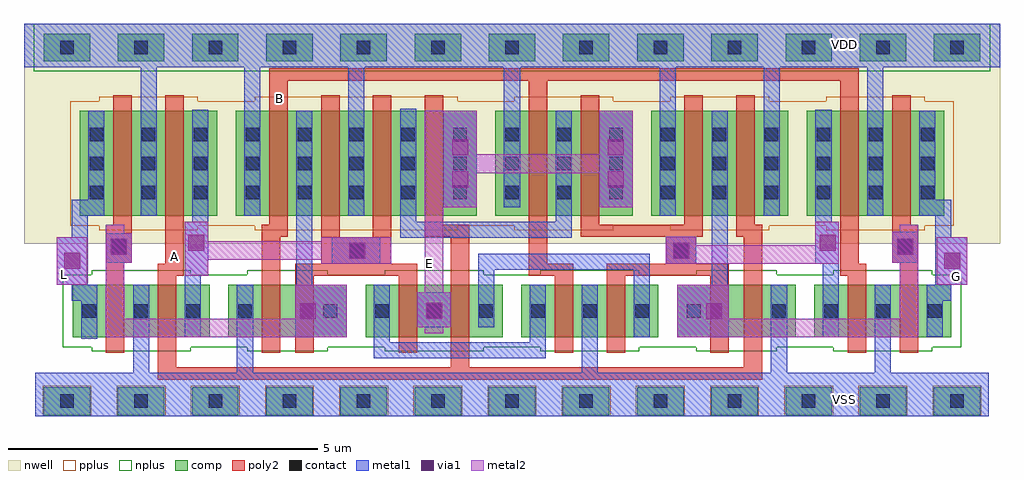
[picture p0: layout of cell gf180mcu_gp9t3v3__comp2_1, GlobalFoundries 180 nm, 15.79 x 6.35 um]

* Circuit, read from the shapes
.subckt gf180mcu_gp9t3v3__comp2_1 A B E G L VDD VSS
XM1 VSS n1 L VSS nfet_03v3 w=0.85u l=0.3u
XM2 n2 A VSS VSS nfet_03v3 w=0.85u l=0.3u
XM3 n3 B VSS VSS nfet_03v3 w=0.85u l=0.3u
XM4 n1 n2 n3 VSS nfet_03v3 w=0.85u l=0.3u
XM5 E n2 n4 VSS nfet_03v3 w=0.85u l=0.3u
XM6 n5 A E VSS nfet_03v3 w=0.85u l=0.3u
XM7 VSS B n4 VSS nfet_03v3 w=0.85u l=0.3u
XM8 n5 n6 VSS VSS nfet_03v3 w=0.85u l=0.3u
XM9 n7 n6 n8 VSS nfet_03v3 w=0.85u l=0.3u
XM10 VSS A n7 VSS nfet_03v3 w=0.85u l=0.3u
XM11 VSS B n6 VSS nfet_03v3 w=0.85u l=0.3u
XM12 G n8 VSS VSS nfet_03v3 w=0.85u l=0.3u
XM13 VDD n1 L VDD pfet_03v3 w=1.7u l=0.3u
XM14 n2 A VDD VDD pfet_03v3 w=1.7u l=0.3u
XM15 n1 B VDD VDD pfet_03v3 w=1.7u l=0.3u
XM16 VDD n2 n1 VDD pfet_03v3 w=1.7u l=0.3u
XM17 n9 n2 VDD VDD pfet_03v3 w=1.7u l=0.3u
XM18 E A n9 VDD pfet_03v3 w=1.7u l=0.3u
XM19 n9 B VDD VDD pfet_03v3 w=1.7u l=0.3u
XM20 E n6 n9 VDD pfet_03v3 w=1.7u l=0.3u
XM21 n8 n6 VDD VDD pfet_03v3 w=1.7u l=0.3u
XM22 VDD A n8 VDD pfet_03v3 w=1.7u l=0.3u
XM23 VDD B n6 VDD pfet_03v3 w=1.7u l=0.3u
XM24 G n8 VDD VDD pfet_03v3 w=1.7u l=0.3u
.ends

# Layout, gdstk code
import gdstk
lib = gdstk.Library(unit=1e-6, precision=1e-09)
def R(c, l, rs):  # rectangles x0, y0, x1, y1
    for r in rs: c.add(gdstk.rectangle(r[:2], r[2:], *l))
def A(c, l, x, y, w, h, nx, ny, dx, dy):  # array of equal rectangles
    R(c, l, [(x+i*dx, y+j*dy, x+i*dx+w, y+j*dy+h) for i in range(nx) for j in range(ny)])
nwell = (21, 0)
comp = (22, 0)
poly2 = (30, 0)
pplus = (31, 0)
nplus = (32, 0)
contact = (33, 0)
metal1 = (34, 0)
via1 = (35, 0)
metal2 = (36, 0)

gf180mcu_gp9t3v3__comp2_ = lib.new_cell('gf180mcu_gp9t3v3__comp2_1')
R(gf180mcu_gp9t3v3__comp2_, nwell, [(-64.49,67.205,-48.7,70.765)])
R(gf180mcu_gp9t3v3__comp2_, comp, [(-64.17,64.435,-63.42,64.885), (-64.17,64.435,-63.42,64.885), (-64.17,64.435,-63.42,64.885), (-64.17,64.435,-63.42,64.885), (-62.97,64.435,-62.22,64.885), (-62.97,64.435,-62.22,64.885), (-62.97,64.435,-62.22,64.885), (-62.97,64.435,-62.22,64.885), (-61.77,64.435,-61.02,64.885), (-61.77,64.435,-61.02,64.885), (-60.57,64.435,-59.82,64.885), (-60.57,64.435,-59.82,64.885), (-59.37,64.435,-58.62,64.885), (-59.37,64.435,-58.62,64.885), (-58.17,64.435,-57.42,64.885), (-58.17,64.435,-57.42,64.885), (-56.97,64.435,-56.22,64.885), (-56.97,64.435,-56.22,64.885), (-55.77,64.435,-55.02,64.885), (-55.77,64.435,-55.02,64.885), (-54.57,64.435,-53.82,64.885), (-54.57,64.435,-53.82,64.885), (-53.37,64.435,-52.62,64.885), (-53.37,64.435,-52.62,64.885), (-52.17,64.435,-51.42,64.885), (-52.17,64.435,-51.42,64.885), (-50.97,64.435,-50.22,64.885), (-50.97,64.435,-50.22,64.885), (-49.77,64.435,-49.02,64.885), (-49.77,64.435,-49.02,64.885), (-49.77,64.435,-49.02,64.885), (-49.77,64.435,-49.02,64.885), (-63.705,65.695,-61.485,66.545), (-63.705,65.695,-61.485,66.545), (-61.185,65.695,-59.265,66.545), (-61.185,65.695,-59.265,66.545), (-58.965,65.695,-56.745,66.545), (-58.965,65.695,-56.745,66.545), (-56.445,65.695,-54.225,66.545), (-56.445,65.695,-54.225,66.545), (-53.925,65.695,-52.005,66.545), (-53.925,65.695,-52.005,66.545), (-51.705,65.695,-49.485,66.545), (-51.705,65.695,-49.485,66.545), (-63.585,67.655,-61.365,69.355), (-63.585,67.655,-61.365,69.355), (-61.065,67.655,-57.165,69.355), (-61.065,67.655,-57.165,69.355), (-56.865,67.655,-54.645,69.355), (-56.865,67.655,-54.645,69.355), (-54.345,67.655,-52.125,69.355), (-54.345,67.655,-52.125,69.355), (-51.825,67.655,-49.605,69.355), (-51.825,67.655,-49.605,69.355), (-64.17,70.155,-63.42,70.605), (-64.17,70.155,-63.42,70.605), (-62.97,70.155,-62.22,70.605), (-62.97,70.155,-62.22,70.605), (-62.97,70.155,-62.22,70.605), (-62.97,70.155,-62.22,70.605), (-61.77,70.155,-61.02,70.605), (-61.77,70.155,-61.02,70.605), (-60.57,70.155,-59.82,70.605), (-60.57,70.155,-59.82,70.605), (-59.37,70.155,-58.62,70.605), (-59.37,70.155,-58.62,70.605), (-58.17,70.155,-57.42,70.605), (-58.17,70.155,-57.42,70.605), (-56.97,70.155,-56.22,70.605), (-56.97,70.155,-56.22,70.605), (-55.77,70.155,-55.02,70.605), (-55.77,70.155,-55.02,70.605), (-54.57,70.155,-53.82,70.605), (-54.57,70.155,-53.82,70.605), (-53.37,70.155,-52.62,70.605), (-53.37,70.155,-52.62,70.605), (-52.17,70.155,-51.42,70.605), (-52.17,70.155,-51.42,70.605), (-50.97,70.155,-50.22,70.605), (-50.97,70.155,-50.22,70.605), (-49.77,70.155,-49.02,70.605), (-49.77,70.155,-49.02,70.605)])
R(gf180mcu_gp9t3v3__comp2_, poly2, [(-62.325,65.005,-52.545,65.205), (-62.325,65.005,-52.545,65.205), (-62.325,65.205,-62.025,66.685), (-62.325,65.205,-62.025,66.685), (-57.585,65.205,-57.285,67.315), (-57.585,65.205,-57.285,67.315), (-52.845,65.205,-52.545,67.315), (-52.845,65.205,-52.545,67.315), (-63.165,65.445,-62.865,66.895), (-63.165,65.445,-62.865,66.895), (-60.645,65.445,-60.345,67.315), (-60.645,65.445,-60.345,67.315), (-60.105,65.445,-59.805,66.685), (-60.105,65.445,-59.805,66.685), (-58.425,65.445,-58.125,66.685), (-58.425,65.445,-58.125,66.685), (-55.905,65.445,-55.605,66.685), (-55.905,65.445,-55.605,66.685), (-55.065,65.445,-54.765,66.685), (-55.065,65.445,-54.765,66.685), (-53.385,65.445,-53.085,66.685), (-53.385,65.445,-53.085,66.685), (-51.165,65.445,-50.865,66.685), (-51.165,65.445,-50.865,66.685), (-50.325,65.445,-50.025,66.895), (-50.325,65.445,-50.025,66.895), (-62.325,66.685,-61.905,66.885), (-62.325,66.685,-61.905,66.885), (-60.105,66.685,-58.125,66.885), (-60.105,66.685,-58.125,66.885), (-56.325,66.685,-55.605,66.885), (-56.325,66.685,-55.605,66.885), (-55.065,66.685,-53.085,66.885), (-55.065,66.685,-53.085,66.885), (-51.285,66.685,-50.865,66.885), (-51.285,66.685,-50.865,66.885), (-62.205,66.885,-61.905,69.605), (-62.205,66.885,-61.905,69.605), (-59.685,66.885,-58.545,67.31), (-59.685,66.885,-58.545,67.31), (-56.325,66.885,-56.025,69.845), (-56.325,66.885,-56.025,69.845), (-54.11,66.885,-53.615,67.315), (-54.11,66.885,-53.615,67.315), (-51.285,66.885,-50.985,69.845), (-51.285,66.885,-50.985,69.845), (-63.165,66.895,-62.745,67.515), (-63.165,66.895,-62.745,67.515), (-50.445,66.895,-50.025,67.515), (-50.445,66.895,-50.025,67.515), (-59.685,67.31,-59.385,69.605), (-59.685,67.31,-59.385,69.605), (-58.845,67.31,-58.545,69.605), (-58.845,67.31,-58.545,69.605), (-60.645,67.315,-60.225,67.515), (-60.645,67.315,-60.225,67.515), (-58.005,67.315,-57.285,67.515), (-58.005,67.315,-57.285,67.515), (-55.485,67.315,-53.505,67.515), (-55.485,67.315,-53.505,67.515), (-52.965,67.315,-52.545,67.515), (-52.965,67.315,-52.545,67.515), (-63.045,67.515,-62.745,69.605), (-63.045,67.515,-62.745,69.605), (-60.525,67.515,-60.225,69.845), (-60.525,67.515,-60.225,69.845), (-58.005,67.515,-57.705,69.605), (-58.005,67.515,-57.705,69.605), (-55.485,67.515,-55.185,69.605), (-55.485,67.515,-55.185,69.605), (-53.805,67.515,-53.505,69.605), (-53.805,67.515,-53.505,69.605), (-52.965,67.515,-52.665,69.605), (-52.965,67.515,-52.665,69.605), (-50.445,67.515,-50.145,69.605), (-50.445,67.515,-50.145,69.605), (-60.525,69.845,-50.985,70.045), (-60.525,69.845,-50.985,70.045)])
A(gf180mcu_gp9t3v3__comp2_, pplus, -64.19, 64.415, 0.79, 0.49, 13, 1, 1.2, 0)
R(gf180mcu_gp9t3v3__comp2_, pplus, [(-63.275,67.425,-61.675,67.495), (-63.275,67.425,-61.675,67.495), (-60.755,67.425,-57.475,67.495), (-60.755,67.425,-57.475,67.495), (-56.555,67.425,-54.955,67.495), (-56.555,67.425,-54.955,67.495), (-54.035,67.425,-52.435,67.495), (-54.035,67.425,-52.435,67.495), (-51.515,67.425,-49.915,67.495), (-51.515,67.425,-49.915,67.495), (-63.745,67.495,-49.445,69.515), (-63.745,67.495,-49.445,69.515), (-63.275,69.515,-61.675,69.585), (-63.275,69.515,-61.675,69.585), (-60.755,69.515,-57.475,69.585), (-60.755,69.515,-57.475,69.585), (-56.555,69.515,-54.955,69.585), (-56.555,69.515,-54.955,69.585), (-54.035,69.515,-52.435,69.585), (-54.035,69.515,-52.435,69.585), (-51.515,69.515,-49.915,69.585), (-51.515,69.515,-49.915,69.585)])
R(gf180mcu_gp9t3v3__comp2_, nplus, [(-63.395,65.465,-61.795,65.535), (-63.395,65.465,-61.795,65.535), (-60.875,65.465,-59.575,65.535), (-60.875,65.465,-59.575,65.535), (-58.655,65.465,-57.055,65.535), (-58.655,65.465,-57.055,65.535), (-56.135,65.465,-54.535,65.535), (-56.135,65.465,-54.535,65.535), (-53.615,65.465,-52.315,65.535), (-53.615,65.465,-52.315,65.535), (-51.395,65.465,-49.795,65.535), (-51.395,65.465,-49.795,65.535), (-63.865,65.535,-49.325,66.705), (-63.865,65.535,-49.325,66.705), (-63.395,66.705,-61.795,66.775), (-63.395,66.705,-61.795,66.775), (-60.875,66.705,-59.575,66.775), (-60.875,66.705,-59.575,66.775), (-58.655,66.705,-57.055,66.775), (-58.655,66.705,-57.055,66.775), (-56.135,66.705,-54.535,66.775), (-56.135,66.705,-54.535,66.775), (-53.615,66.705,-52.315,66.775), (-53.615,66.705,-52.315,66.775), (-51.395,66.705,-49.795,66.775), (-51.395,66.705,-49.795,66.775), (-64.33,69.995,-48.86,70.765)])
R(gf180mcu_gp9t3v3__comp2_, contact, [(-63.905,64.55,-63.685,64.77), (-63.905,64.55,-63.685,64.77), (-63.905,64.55,-63.685,64.77), (-63.905,64.55,-63.685,64.77), (-62.705,64.55,-62.485,64.77), (-62.705,64.55,-62.485,64.77), (-62.705,64.55,-62.485,64.77), (-62.705,64.55,-62.485,64.77), (-61.505,64.55,-61.285,64.77), (-61.505,64.55,-61.285,64.77), (-60.305,64.55,-60.085,64.77), (-60.305,64.55,-60.085,64.77), (-59.105,64.55,-58.885,64.77), (-59.105,64.55,-58.885,64.77), (-57.905,64.55,-57.685,64.77), (-57.905,64.55,-57.685,64.77), (-56.705,64.55,-56.485,64.77), (-56.705,64.55,-56.485,64.77), (-55.505,64.55,-55.285,64.77), (-55.505,64.55,-55.285,64.77), (-54.305,64.55,-54.085,64.77), (-54.305,64.55,-54.085,64.77), (-53.105,64.55,-52.885,64.77), (-53.105,64.55,-52.885,64.77), (-51.905,64.55,-51.685,64.77), (-51.905,64.55,-51.685,64.77), (-50.705,64.55,-50.485,64.77), (-50.705,64.55,-50.485,64.77), (-49.505,64.55,-49.285,64.77), (-49.505,64.55,-49.285,64.77), (-49.505,64.55,-49.285,64.77), (-49.505,64.55,-49.285,64.77), (-63.545,66.01,-63.325,66.23), (-63.545,66.01,-63.325,66.23), (-62.705,66.01,-62.485,66.23), (-62.705,66.01,-62.485,66.23), (-61.865,66.01,-61.645,66.23), (-61.865,66.01,-61.645,66.23), (-61.025,66.01,-60.805,66.23), (-61.025,66.01,-60.805,66.23), (-59.645,66.01,-59.425,66.23), (-59.645,66.01,-59.425,66.23), (-58.805,66.01,-58.585,66.23), (-58.805,66.01,-58.585,66.23), (-57.965,66.01,-57.745,66.23), (-57.965,66.01,-57.745,66.23), (-57.125,66.01,-56.905,66.23), (-57.125,66.01,-56.905,66.23), (-56.285,66.01,-56.065,66.23), (-56.285,66.01,-56.065,66.23), (-55.445,66.01,-55.225,66.23), (-55.445,66.01,-55.225,66.23), (-54.605,66.01,-54.385,66.23), (-54.605,66.01,-54.385,66.23), (-53.765,66.01,-53.545,66.23), (-53.765,66.01,-53.545,66.23), (-52.385,66.01,-52.165,66.23), (-52.385,66.01,-52.165,66.23), (-51.545,66.01,-51.325,66.23), (-51.545,66.01,-51.325,66.23), (-50.705,66.01,-50.485,66.23), (-50.705,66.01,-50.485,66.23), (-49.865,66.01,-49.645,66.23), (-49.865,66.01,-49.645,66.23), (-59.21,66.98,-58.99,67.2), (-59.21,66.98,-58.99,67.2), (-53.97,66.98,-53.75,67.2), (-53.97,66.98,-53.75,67.2), (-63.065,67.05,-62.845,67.27), (-63.065,67.05,-62.845,67.27), (-50.345,67.05,-50.125,67.27), (-50.345,67.05,-50.125,67.27), (-63.425,67.925,-63.205,68.145), (-63.425,67.925,-63.205,68.145), (-62.585,67.925,-62.365,68.145), (-62.585,67.925,-62.365,68.145), (-61.745,67.925,-61.525,68.145), (-61.745,67.925,-61.525,68.145), (-60.905,67.925,-60.685,68.145), (-60.905,67.925,-60.685,68.145), (-60.065,67.925,-59.845,68.145), (-60.065,67.925,-59.845,68.145), (-59.225,67.925,-59.005,68.145), (-59.225,67.925,-59.005,68.145), (-58.385,67.925,-58.165,68.145), (-58.385,67.925,-58.165,68.145), (-57.545,67.925,-57.325,68.145), (-57.545,67.925,-57.325,68.145), (-56.705,67.925,-56.485,68.145), (-56.705,67.925,-56.485,68.145), (-55.865,67.925,-55.645,68.145), (-55.865,67.925,-55.645,68.145), (-55.025,67.925,-54.805,68.145), (-55.025,67.925,-54.805,68.145), (-54.185,67.925,-53.965,68.145), (-54.185,67.925,-53.965,68.145), (-53.345,67.925,-53.125,68.145), (-53.345,67.925,-53.125,68.145), (-52.505,67.925,-52.285,68.145), (-52.505,67.925,-52.285,68.145), (-51.665,67.925,-51.445,68.145), (-51.665,67.925,-51.445,68.145), (-50.825,67.925,-50.605,68.145), (-50.825,67.925,-50.605,68.145), (-49.985,67.925,-49.765,68.145), (-49.985,67.925,-49.765,68.145), (-63.425,68.395,-63.205,68.615), (-63.425,68.395,-63.205,68.615), (-62.585,68.395,-62.365,68.615), (-62.585,68.395,-62.365,68.615), (-61.745,68.395,-61.525,68.615), (-61.745,68.395,-61.525,68.615), (-60.905,68.395,-60.685,68.615), (-60.905,68.395,-60.685,68.615), (-60.065,68.395,-59.845,68.615), (-60.065,68.395,-59.845,68.615), (-59.225,68.395,-59.005,68.615), (-59.225,68.395,-59.005,68.615), (-58.385,68.395,-58.165,68.615), (-58.385,68.395,-58.165,68.615), (-57.545,68.395,-57.325,68.615), (-57.545,68.395,-57.325,68.615), (-56.705,68.395,-56.485,68.615), (-56.705,68.395,-56.485,68.615), (-55.865,68.395,-55.645,68.615), (-55.865,68.395,-55.645,68.615), (-55.025,68.395,-54.805,68.615), (-55.025,68.395,-54.805,68.615), (-54.185,68.395,-53.965,68.615), (-54.185,68.395,-53.965,68.615), (-53.345,68.395,-53.125,68.615), (-53.345,68.395,-53.125,68.615), (-52.505,68.395,-52.285,68.615), (-52.505,68.395,-52.285,68.615), (-51.665,68.395,-51.445,68.615), (-51.665,68.395,-51.445,68.615), (-50.825,68.395,-50.605,68.615), (-50.825,68.395,-50.605,68.615), (-49.985,68.395,-49.765,68.615), (-49.985,68.395,-49.765,68.615), (-63.425,68.865,-63.205,69.085), (-63.425,68.865,-63.205,69.085), (-62.585,68.865,-62.365,69.085), (-62.585,68.865,-62.365,69.085), (-61.745,68.865,-61.525,69.085), (-61.745,68.865,-61.525,69.085), (-60.905,68.865,-60.685,69.085), (-60.905,68.865,-60.685,69.085), (-60.065,68.865,-59.845,69.085), (-60.065,68.865,-59.845,69.085), (-59.225,68.865,-59.005,69.085), (-59.225,68.865,-59.005,69.085), (-58.385,68.865,-58.165,69.085), (-58.385,68.865,-58.165,69.085), (-57.545,68.865,-57.325,69.085), (-57.545,68.865,-57.325,69.085), (-56.705,68.865,-56.485,69.085), (-56.705,68.865,-56.485,69.085), (-55.865,68.865,-55.645,69.085), (-55.865,68.865,-55.645,69.085), (-55.025,68.865,-54.805,69.085), (-55.025,68.865,-54.805,69.085), (-54.185,68.865,-53.965,69.085), (-54.185,68.865,-53.965,69.085), (-53.345,68.865,-53.125,69.085), (-53.345,68.865,-53.125,69.085), (-52.505,68.865,-52.285,69.085), (-52.505,68.865,-52.285,69.085), (-51.665,68.865,-51.445,69.085), (-51.665,68.865,-51.445,69.085), (-50.825,68.865,-50.605,69.085), (-50.825,68.865,-50.605,69.085), (-49.985,68.865,-49.765,69.085), (-49.985,68.865,-49.765,69.085), (-63.905,70.27,-63.685,70.49), (-63.905,70.27,-63.685,70.49), (-62.705,70.27,-62.485,70.49), (-62.705,70.27,-62.485,70.49), (-62.705,70.27,-62.485,70.49), (-62.705,70.27,-62.485,70.49), (-61.505,70.27,-61.285,70.49), (-61.505,70.27,-61.285,70.49), (-60.305,70.27,-60.085,70.49), (-60.305,70.27,-60.085,70.49), (-59.105,70.27,-58.885,70.49), (-59.105,70.27,-58.885,70.49), (-57.905,70.27,-57.685,70.49), (-57.905,70.27,-57.685,70.49), (-56.705,70.27,-56.485,70.49), (-56.705,70.27,-56.485,70.49), (-55.505,70.27,-55.285,70.49), (-55.505,70.27,-55.285,70.49), (-54.305,70.27,-54.085,70.49), (-54.305,70.27,-54.085,70.49), (-53.105,70.27,-52.885,70.49), (-53.105,70.27,-52.885,70.49), (-51.905,70.27,-51.685,70.49), (-51.905,70.27,-51.685,70.49), (-50.705,70.27,-50.485,70.49), (-50.705,70.27,-50.485,70.49), (-49.505,70.27,-49.285,70.49), (-49.505,70.27,-49.285,70.49)])
A(gf180mcu_gp9t3v3__comp2_, metal1, -62.605, 67.655, 0.26, 2.28, 3, 1, 1.68, 0)
A(gf180mcu_gp9t3v3__comp2_, metal1, -62.605, 67.655, 0.26, 2.41, 3, 1, 1.68, 0)
A(gf180mcu_gp9t3v3__comp2_, metal1, -54.205, 67.655, 0.26, 2.28, 3, 1, 1.68, 0)
A(gf180mcu_gp9t3v3__comp2_, metal1, -54.205, 67.655, 0.26, 2.41, 3, 1, 1.68, 0)
R(gf180mcu_gp9t3v3__comp2_, metal1, [(-64.31,64.415,-48.88,65.115), (-62.725,65.115,-62.465,66.545), (-62.725,65.115,-62.465,66.545), (-61.045,65.115,-60.785,66.545), (-61.045,65.115,-60.785,66.545), (-55.47,65.115,-55.21,66.545), (-55.47,65.115,-55.21,66.545), (-52.405,65.115,-52.145,66.545), (-52.405,65.115,-52.145,66.545), (-50.725,65.115,-50.465,66.545), (-50.725,65.115,-50.465,66.545), (-58.83,65.355,-56.045,65.615), (-58.83,65.355,-56.045,65.615), (-58.83,65.615,-58.57,66.545), (-58.83,65.615,-58.57,66.545), (-56.305,65.615,-56.045,66.545), (-56.305,65.615,-56.045,66.545), (-63.565,65.67,-63.305,66.285), (-63.565,65.67,-63.305,66.285), (-61.89,65.695,-61.63,66.685), (-61.89,65.695,-61.63,66.685), (-60.105,65.695,-59.265,66.545), (-60.105,65.695,-59.265,66.545), (-54.625,65.695,-54.365,66.785), (-54.625,65.695,-54.365,66.785), (-53.925,65.695,-53.085,66.545), (-53.925,65.695,-53.085,66.545), (-51.565,65.695,-51.305,66.885), (-51.565,65.695,-51.305,66.885), (-49.885,65.7,-49.625,66.285), (-49.885,65.7,-49.625,66.285), (-58.125,65.855,-57.585,66.425), (-58.125,65.855,-57.585,66.425), (-57.145,65.855,-56.885,66.785), (-57.145,65.855,-56.885,66.785), (-63.715,66.285,-63.305,66.545), (-63.715,66.285,-63.305,66.545), (-49.885,66.285,-49.485,66.545), (-49.885,66.285,-49.485,66.545), (-63.96,66.545,-63.455,67.31), (-63.96,66.545,-63.455,67.31), (-60.085,66.545,-59.825,69.355), (-60.085,66.545,-59.825,69.355), (-53.365,66.545,-53.105,69.355), (-53.365,66.545,-53.105,69.355), (-49.745,66.545,-49.23,67.31), (-49.745,66.545,-49.23,67.31), (-61.89,66.685,-61.51,67.565), (-61.89,66.685,-61.51,67.565), (-57.145,66.785,-54.365,67.045), (-57.145,66.785,-54.365,67.045), (-59.51,66.885,-58.725,67.31), (-59.51,66.885,-58.725,67.31), (-54.11,66.885,-53.615,67.315), (-54.11,66.885,-53.615,67.315), (-51.685,66.885,-51.305,67.565), (-51.685,66.885,-51.305,67.565), (-63.165,66.895,-62.745,67.375), (-63.165,66.895,-62.745,67.375), (-50.445,66.895,-50.025,67.4), (-50.445,66.895,-50.025,67.4), (-58.405,67.3,-55.625,67.56), (-58.405,67.3,-55.625,67.56), (-63.715,67.31,-63.455,67.655), (-63.715,67.31,-63.455,67.655), (-49.745,67.31,-49.485,67.655), (-49.745,67.31,-49.485,67.655), (-58.405,67.56,-58.145,69.39), (-58.405,67.56,-58.145,69.39), (-55.885,67.56,-55.625,69.355), (-55.885,67.56,-55.625,69.355), (-61.77,67.565,-61.51,69.37), (-61.77,67.565,-61.51,69.37), (-51.685,67.565,-51.425,69.37), (-51.685,67.565,-51.425,69.37), (-63.715,67.655,-63.19,67.915), (-63.715,67.655,-63.19,67.915), (-50.005,67.655,-49.485,67.915), (-50.005,67.655,-49.485,67.915), (-57.705,67.8,-57.165,69.355), (-57.705,67.8,-57.165,69.355), (-56.725,67.8,-56.465,69.935), (-56.725,67.8,-56.465,70.065), (-55.185,67.8,-54.645,69.355), (-55.185,67.8,-54.645,69.355), (-63.45,67.915,-63.19,69.355), (-63.45,67.915,-63.19,69.355), (-50.005,67.915,-49.745,69.355), (-50.005,67.915,-49.745,69.355), (-64.49,70.065,-48.7,70.765)])
R(gf180mcu_gp9t3v3__comp2_, via1, [(-60.03,65.985,-59.77,66.245), (-60.03,65.985,-59.77,66.245), (-53.455,65.985,-53.195,66.245), (-53.455,65.985,-53.195,66.245), (-57.985,65.995,-57.725,66.255), (-57.985,65.995,-57.725,66.255), (-63.84,66.8,-63.58,67.06), (-63.84,66.8,-63.58,67.06), (-49.605,66.8,-49.345,67.06), (-49.605,66.8,-49.345,67.06), (-59.23,66.96,-58.97,67.22), (-59.23,66.96,-58.97,67.22), (-53.99,66.96,-53.73,67.22), (-53.99,66.96,-53.73,67.22), (-63.085,67.03,-62.825,67.29), (-63.085,67.03,-62.825,67.29), (-50.365,67.03,-50.105,67.29), (-50.365,67.03,-50.105,67.29), (-61.835,67.095,-61.575,67.355), (-61.835,67.095,-61.575,67.355), (-51.62,67.095,-51.36,67.355), (-51.62,67.095,-51.36,67.355), (-57.565,68.115,-57.305,68.375), (-57.565,68.115,-57.305,68.375), (-55.045,68.115,-54.785,68.375), (-55.045,68.115,-54.785,68.375), (-57.565,68.635,-57.305,68.895), (-57.565,68.635,-57.305,68.895), (-55.045,68.635,-54.785,68.895), (-55.045,68.635,-54.785,68.895)])
R(gf180mcu_gp9t3v3__comp2_, metal2, [(-63.165,65.695,-59.265,65.995), (-63.165,65.695,-59.265,65.995), (-53.925,65.695,-50.025,65.995), (-53.925,65.695,-50.025,65.995), (-58.005,65.76,-57.705,65.855), (-58.005,65.76,-57.705,65.855), (-58.125,65.855,-57.585,66.425), (-58.125,65.855,-57.585,66.425), (-63.165,65.995,-62.865,66.895), (-63.165,65.995,-62.865,66.895), (-60.105,65.995,-59.265,66.545), (-60.105,65.995,-59.265,66.545), (-53.925,65.995,-53.085,66.545), (-53.925,65.995,-53.085,66.545), (-50.325,65.995,-50.025,66.895), (-50.325,65.995,-50.025,66.895), (-58.005,66.425,-57.705,67.8), (-58.005,66.425,-57.705,67.8), (-63.96,66.545,-63.465,67.31), (-63.96,66.545,-63.465,67.31), (-49.725,66.545,-49.23,67.31), (-49.725,66.545,-49.23,67.31), (-61.89,66.685,-61.51,66.95), (-61.89,66.685,-61.51,66.95), (-59.685,66.885,-58.545,66.95), (-59.685,66.885,-58.545,66.95), (-54.11,66.885,-51.305,67.185), (-54.11,66.885,-51.305,67.185), (-63.165,66.895,-62.745,67.375), (-63.165,66.895,-62.745,67.375), (-50.445,66.895,-50.025,67.4), (-50.445,66.895,-50.025,67.4), (-61.89,66.95,-58.545,67.25), (-61.89,66.95,-58.545,67.25), (-54.11,67.185,-53.615,67.315), (-54.11,67.185,-53.615,67.315), (-51.685,67.185,-51.305,67.565), (-51.685,67.185,-51.305,67.565), (-61.89,67.25,-61.51,67.565), (-61.89,67.25,-61.51,67.565), (-59.685,67.25,-58.545,67.31), (-59.685,67.25,-58.545,67.31), (-63.165,67.375,-62.865,67.515), (-63.165,67.375,-62.865,67.515), (-50.325,67.4,-50.025,67.515), (-50.325,67.4,-50.025,67.515), (-58.005,67.8,-57.165,68.35), (-58.005,67.8,-57.165,68.35), (-55.185,67.8,-54.645,68.35), (-55.185,67.8,-54.645,68.35), (-58.005,68.35,-54.645,68.65), (-58.005,68.35,-54.645,68.65), (-58.005,68.65,-57.165,69.355), (-58.005,68.65,-57.165,69.355), (-55.185,68.65,-54.645,69.355), (-55.185,68.65,-54.645,69.355)])
gf180mcu_gp9t3v3__comp2_.add(gdstk.Label('L', (-63.84,66.715), layer=36, texttype=10))
gf180mcu_gp9t3v3__comp2_.add(gdstk.Label('E', (-57.93,66.89), layer=36, texttype=10))
gf180mcu_gp9t3v3__comp2_.add(gdstk.Label('G', (-49.405,66.68), layer=36, texttype=10))
gf180mcu_gp9t3v3__comp2_.add(gdstk.Label('VDD', (-51.22,70.425), layer=34, texttype=10))
gf180mcu_gp9t3v3__comp2_.add(gdstk.Label('VSS', (-51.22,64.68), layer=34, texttype=10))
gf180mcu_gp9t3v3__comp2_.add(gdstk.Label('A', (-62.05,67), layer=30, texttype=10))
gf180mcu_gp9t3v3__comp2_.add(gdstk.Label('B', (-60.35,69.55), layer=30, texttype=10))
gf180mcu_gp9t3v3__comp2_.add(gdstk.Label('B', (-60.35,69.55), layer=30, texttype=10))
gf180mcu_gp9t3v3__comp2_.add(gdstk.Label('A', (-62.05,67), layer=30, texttype=10))

lib.write_gds('gf180mcu_gp9t3v3__comp2_1.gds')
